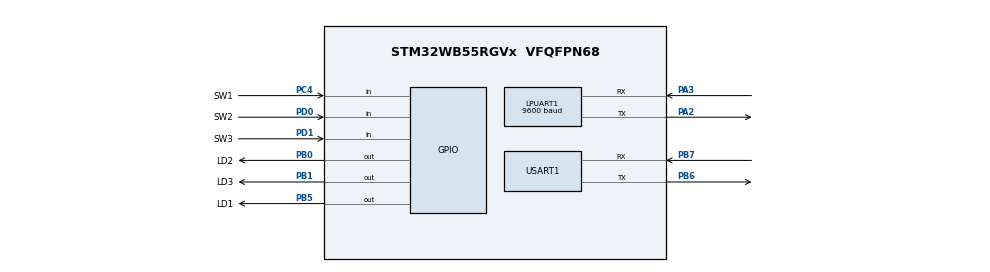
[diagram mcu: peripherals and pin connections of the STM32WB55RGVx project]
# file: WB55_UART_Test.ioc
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ADC1.Channel-0\#ChannelRegularConversion=ADC_CHANNEL_VREFINT
ADC1.Channel-1\#ChannelRegularConversion=ADC_CHANNEL_TEMPSENSOR
ADC1.NbrOfConversion=2
ADC1.NbrOfConversionFlag=1
ADC1.OffsetNumber-0\#ChannelRegularConversion=ADC_OFFSET_NONE
ADC1.OffsetNumber-1\#ChannelRegularConversion=ADC_OFFSET_NONE
ADC1.Rank-0\#ChannelRegularConversion=1
ADC1.Rank-1\#ChannelRegularConversion=2
ADC1.SamplingTime-0\#ChannelRegularConversion=ADC_SAMPLETIME_640CYCLES_5
ADC1.SamplingTime-1\#ChannelRegularConversion=ADC_SAMPLETIME_640CYCLES_5
ADC1.master=1
LPUART1.BaudRate=9600
Mcu.Family=STM32WB
Mcu.Name=STM32WB55RGVx
Mcu.Package=VFQFPN68
NVIC.PriorityGroup=NVIC_PRIORITYGROUP_4
PA2.Mode=Asynchronous
PA2.Signal=LPUART1_TX
PA3.Mode=Asynchronous
PA3.Signal=LPUART1_RX
PB0.GPIO_Label=LD2
PB0.Signal=GPIO_Output
PB1.GPIO_Label=LD3
PB1.Signal=GPIO_Output
PB5.GPIO_Label=LD1
PB5.Signal=GPIO_Output
PB6.Mode=Asynchronous
PB6.Signal=USART1_TX
PB7.Mode=Asynchronous
PB7.Signal=USART1_RX
PC0.Signal=ADCx_IN1
PC4.GPIO_Label=SW1
PC4.GPIO_PuPd=GPIO_PULLUP
PC4.Signal=GPIO_Input
PD0.GPIO_Label=SW2
PD0.GPIO_PuPd=GPIO_PULLUP
PD0.Signal=GPIO_Input
PD1.GPIO_Label=SW3
PD1.GPIO_PuPd=GPIO_PULLUP
PD1.Signal=GPIO_Input
ProjectManager.HeapSize=0x200
ProjectManager.StackSize=0x400
ProjectManager.TargetToolchain=STM32CubeIDE
RCC.APB3Freq_Value=16000000
RCC.HSE_VALUE=8000000
RCC.HSI48_VALUE=48000000
RCC.HSI_VALUE=16000000
RCC.LSE_VALUE=32768
RCC.VCOOutputFreq_Value=32000000
SH.ADCx_IN1.0=ADC1_IN1
USART1.VirtualMode-Asynchronous=VM_ASYNC
VP_ADC1_TempSens_Input.Mode=IN-TempSens
VP_ADC1_Vref_Input.Mode=IN-Vrefint
VP_MEMORYMAP_VS_MEMORYMAP.Mode=CurAppReg
board=custom

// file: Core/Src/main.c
/* USER CODE BEGIN Header */
/**
  ******************************************************************************
  * @file           : main.c
  * @brief          : Main program body
  ******************************************************************************
  * @attention
  *
  * Copyright (c) 2026 STMicroelectronics.
  * All rights reserved.
  *
  ******************************************************************************
  */
/* USER CODE END Header */

#include "main.h"
#include "adc.h"
#include "usart.h"
#include "gpio.h"

/* USER CODE BEGIN Includes */
#include "modbus_rtu.h"
#include "bms_registers.h"
#include "stm32wbxx_ll_adc.h"
/* USER CODE END Includes */

/* USER CODE BEGIN PD */

#define ONCHIP_UPDATE_PERIOD_MS  500U

/* USER CODE END PD */

/* USER CODE BEGIN PV */

static uint32_t last_onchip_update_ms = 0U;

/* USER CODE END PV */

void SystemClock_Config(void);
void PeriphCommonClock_Config(void);

/* USER CODE BEGIN PFP */

static void Update_Board_Digital_IO(void);
static void Update_OnChip_Data(void);

static int32_t Calculate_Temperature_x10(
    uint32_t vdda_mv,
    uint32_t temperature_raw,
    int32_t temperature_c_hal
);

/* USER CODE END PFP */

/* USER CODE BEGIN 0 */

/*
 * STM32WB55 dahili sicaklik sensorunu
 * 0.1 C biriminde hesaplar.
 *
 * Ornek:
 *
 * 253 -> 25.3 C
 * 317 -> 31.7 C
 *
 * Hesap STM32'nin fabrikada programlanan
 * TS_CAL1 ve TS_CAL2 degerlerini kullanir.
 *
 * HAL'in __HAL_ADC_CALC_TEMPERATURE() makrosu
 * tam sayi derece C dondurdugu icin 0.1 C gosterim
 * icin ayni fabrika kalibrasyon degerleriyle
 * fixed-point hesap yapiyoruz.
 */
static int32_t Calculate_Temperature_x10(
    uint32_t vdda_mv,
    uint32_t temperature_raw,
    int32_t temperature_c_hal)
{
    int32_t cal1;
    int32_t cal2;

    int32_t adc_at_calibration_vref;

    int32_t denominator;

    int64_t numerator;

    int32_t temperature_x10;

    /*
     * Fabrika kalibrasyon ADC degerleri.
     *
     * STM32WB:
     *
     * TS_CAL1 -> 30 C
     * TS_CAL2 -> 130 C
     */
    cal1 = (int32_t)(*TEMPSENSOR_CAL1_ADDR);
    cal2 = (int32_t)(*TEMPSENSOR_CAL2_ADDR);

    /*
     * Sicaklik sensorunun ADC degerini,
     * fabrika kalibrasyonunun yapildigi
     * referans gerilimine normalize et.
     *
     * ST HAL/LL makrosunun kullandigi
     * yaklasimla aynidir:
     *
     * ADC_normalized =
     * ADC_raw * VDDA / calibration_VREF
     */
    adc_at_calibration_vref =
        (int32_t)(
            ((uint64_t)temperature_raw *
             (uint64_t)vdda_mv)
            /
            (uint64_t)TEMPSENSOR_CAL_VREFANALOG
        );

    denominator = cal2 - cal1;

    /*
     * Normalde denominator sifir olamaz.
     *
     * Yine de koruma amacli HAL'in
     * tam derece sonucuna geri donuyoruz.
     */
    if (denominator == 0)
    {
        return temperature_c_hal * 10;
    }

    /*
     * Lineer interpolasyon:
     *
     * T =
     *
     * (ADC - CAL1)
     * ------------------- * (T2 - T1)
     *   (CAL2 - CAL1)
     *
     * + T1
     *
     * Sonucu dogrudan x10 hesapliyoruz.
     */
    numerator =
        ((int64_t)adc_at_calibration_vref -
         (int64_t)cal1)
        *
        (
            (int64_t)(
                TEMPSENSOR_CAL2_TEMP -
                TEMPSENSOR_CAL1_TEMP
            )
            * 10LL
        );

    temperature_x10 =
        (int32_t)(
            numerator /
            (int64_t)denominator
        )
        +
        (int32_t)(
            TEMPSENSOR_CAL1_TEMP * 10L
        );

    return temperature_x10;
}

/*
 * Board butonlarini Modbus Discrete Input hafizasina aktarir
 * ve Modbus coil durumlarini fiziksel LED'lere uygular.
 */
static void Update_Board_Digital_IO(void)
{
    uint8_t sw1_pressed;
    uint8_t sw2_pressed;
    uint8_t sw3_pressed;

    /*
     * Butonlar active-low:
     *
     * GPIO RESET -> basili
     * GPIO SET   -> birakilmis
     */
    sw1_pressed =
        (HAL_GPIO_ReadPin(
            SW1_GPIO_Port,
            SW1_Pin) == GPIO_PIN_RESET)
        ? 1U : 0U;

    sw2_pressed =
        (HAL_GPIO_ReadPin(
            SW2_GPIO_Port,
            SW2_Pin) == GPIO_PIN_RESET)
        ? 1U : 0U;

    sw3_pressed =
        (HAL_GPIO_ReadPin(
            SW3_GPIO_Port,
            SW3_Pin) == GPIO_PIN_RESET)
        ? 1U : 0U;

    /*
     * Fiziksel buton -> Modbus Discrete Input
     */
    modbus_set_discrete_input(
        0U,
        sw1_pressed
    );

    modbus_set_discrete_input(
        1U,
        sw2_pressed
    );

    modbus_set_discrete_input(
        2U,
        sw3_pressed
    );

    /*
     * Modbus Coil -> fiziksel LED
     *
     * LED'ler active-high:
     *
     * GPIO SET   -> LED ON
     * GPIO RESET -> LED OFF
     */

    HAL_GPIO_WritePin(
        LD1_GPIO_Port,
        LD1_Pin,
        (modbus_get_coil(0U) != 0U)
            ? GPIO_PIN_SET
            : GPIO_PIN_RESET
    );

    HAL_GPIO_WritePin(
        LD2_GPIO_Port,
        LD2_Pin,
        (modbus_get_coil(1U) != 0U)
            ? GPIO_PIN_SET
            : GPIO_PIN_RESET
    );

    HAL_GPIO_WritePin(
        LD3_GPIO_Port,
        LD3_Pin,
        (modbus_get_coil(2U) != 0U)
            ? GPIO_PIN_SET
            : GPIO_PIN_RESET
    );
}

/*
 * STM32WB55 dahili ADC verilerini okur.
 *
 * ADC sequence:
 *
 * Rank 1 -> VREFINT
 * Rank 2 -> Temperature Sensor
 *
 * Sonuclar:
 *
 * PDU 50 -> MCU temperature x10
 * PDU 51 -> Temperature raw ADC
 * PDU 52 -> VDDA mV
 * PDU 53 -> Uptime seconds
 */
static void Update_OnChip_Data(void)
{
    uint32_t vrefint_raw = 0U;
    uint32_t temperature_raw = 0U;

    uint32_t vdda_mv = 0U;

    int32_t temperature_c_hal = 0;
    int32_t temperature_x10_signed = 0;

    uint16_t temperature_x10 = 0U;

    uint8_t adc_ok = 1U;

    /*
     * ADC conversion sequence'i baslat.
     */
    if (HAL_ADC_Start(&hadc1) != HAL_OK)
    {
        adc_ok = 0U;
    }

    /*
     * Rank 1 -> VREFINT
     */
    if (adc_ok != 0U)
    {
        if (HAL_ADC_PollForConversion(
                &hadc1,
                10U) == HAL_OK)
        {
            vrefint_raw =
                HAL_ADC_GetValue(&hadc1);
        }
        else
        {
            adc_ok = 0U;
        }
    }

    /*
     * Rank 2 -> Internal Temperature Sensor
     */
    if (adc_ok != 0U)
    {
        if (HAL_ADC_PollForConversion(
                &hadc1,
                10U) == HAL_OK)
        {
            temperature_raw =
                HAL_ADC_GetValue(&hadc1);
        }
        else
        {
            adc_ok = 0U;
        }
    }

    /*
     * ADC sequence tamamlandi.
     */
    HAL_ADC_Stop(&hadc1);

    /*
     * ADC okuma basariliysa hesaplamalari yap.
     */
    if ((adc_ok != 0U) &&
        (vrefint_raw != 0U))
    {
        /*
         * VREFINT fabrika kalibrasyonunu kullanarak
         * gercek VDDA degerini hesapla.
         *
         * Sonuc mV.
         */
        vdda_mv =
            __HAL_ADC_CALC_VREFANALOG_VOLTAGE(
                vrefint_raw,
                ADC_RESOLUTION_12B
            );

        /*
         * ST HAL'in fabrika TS_CAL degerlerini kullanan
         * standart sicaklik hesabi.
         *
         * Sonuc tam sayi derece Celsius.
         *
         * Ornek:
         *
         * 31
         * 32
         */
        temperature_c_hal =
            __HAL_ADC_CALC_TEMPERATURE(
                vdda_mv,
                temperature_raw,
                ADC_RESOLUTION_12B
            );

        /*
         * Ayni fabrika kalibrasyon verileriyle
         * daha ince fixed-point hesap:
         *
         * 317 -> 31.7 C
         */
        temperature_x10_signed =
            Calculate_Temperature_x10(
                vdda_mv,
                temperature_raw,
                temperature_c_hal
            );

        /*
         * Holding Register uint16_t.
         *
         * Bu proje normal oda sicakliginda calistigi icin
         * negatif sonucu 0'a sinirliyoruz.
         */
        if (temperature_x10_signed < 0)
        {
            temperature_x10 = 0U;
        }
        else if (temperature_x10_signed > 65535)
        {
            temperature_x10 = 65535U;
        }
        else
        {
            temperature_x10 =
                (uint16_t)temperature_x10_signed;
        }

        /*
         * PDU 50
         *
         * MCU Temperature x10
         *
         * Ornek:
         *
         * 317 -> 31.7 C
         */
        bms_reg_write(
            BMS_REG_MCU_TEMPERATURE_X10,
            temperature_x10
        );

        /*
         * PDU 51
         *
         * Temperature Sensor Raw ADC
         */
        bms_reg_write(
            BMS_REG_MCU_TEMPERATURE_RAW,
            (uint16_t)temperature_raw
        );

        /*
         * PDU 52
         *
         * VDDA mV
         *
         * Ornek:
         *
         * 3310 -> 3.310 V
         */
        bms_reg_write(
            BMS_REG_VDDA_MV,
            (uint16_t)vdda_mv
        );
    }

    /*
     * PDU 53
     *
     * HAL_GetTick() milisaniyedir.
     *
     * /1000 -> saniye
     *
     * uint16_t oldugu icin:
     *
     * 65535 -> 0
     *
     * seklinde wrap eder.
     */
    bms_reg_write(
        BMS_REG_UPTIME_SECONDS,
        (uint16_t)(
            HAL_GetTick() / 1000U
        )
    );
}

/* USER CODE END 0 */

int main(void)
{
    /* USER CODE BEGIN 1 */

    uint8_t  rxbuf[256];
    uint16_t rxlen = 0U;
    uint8_t  txbuf[256];

    /* USER CODE END 1 */

    /* MCU Configuration--------------------------------------------------------*/

    /*
     * Reset of all peripherals,
     * Initializes the Flash interface and the Systick.
     */
    HAL_Init();

    /* Configure the system clock */
    SystemClock_Config();

    /* Configure the peripherals common clocks */
    PeriphCommonClock_Config();

    /* Initialize all configured peripherals */
    MX_GPIO_Init();
    MX_USART1_UART_Init();
    MX_LPUART1_UART_Init();
    MX_ADC1_Init();

    /* USER CODE BEGIN 2 */

    /*
     * Holding Register hafizasini hazirla.
     */
    bms_registers_init();

    /*
     * Modbus RTU hafizasini ve Slave ID'yi hazirla.
     */
    modbus_rtu_init();

    /*
     * Waveshare USB-TTL:
     *
     * LPUART1
     *
     * PA2 = TX
     * PA3 = RX
     *
     * 9600 8N1
     */
    hlpuart1.Init.BaudRate = 9600;

    if (HAL_UART_Init(&hlpuart1) != HAL_OK)
    {
        Error_Handler();
    }

    /*
     * ADC kalibrasyonu.
     *
     * ADC kullanilmadan once bir kez yapilir.
     */
    if (HAL_ADCEx_Calibration_Start(
            &hadc1,
            ADC_SINGLE_ENDED) != HAL_OK)
    {
        Error_Handler();
    }

    /*
     * Baslangicta:
     *
     * buton -> DI
     * coil  -> LED
     *
     * durumlarini esitle.
     */
    Update_Board_Digital_IO();

    /*
     * Ilk ADC ve uptime degerlerini
     * hemen olustur.
     */
    Update_OnChip_Data();

    last_onchip_update_ms =
        HAL_GetTick();

    /* USER CODE END 2 */

    /* Infinite loop */
    while (1)
    {

        /* USER CODE BEGIN 3 */

        /*
         * =====================================================
         * BOARD DIGITAL I/O
         * =====================================================
         *
         * SW1 -> DI0
         * SW2 -> DI1
         * SW3 -> DI2
         *
         * Coil0 -> LD1
         * Coil1 -> LD2
         * Coil2 -> LD3
         */
        Update_Board_Digital_IO();

        /*
         * =====================================================
         * PERIODIC ON-CHIP DATA
         * =====================================================
         *
         * Her 500 ms:
         *
         * PDU 50 -> temperature x10
         * PDU 51 -> temperature raw ADC
         * PDU 52 -> VDDA mV
         * PDU 53 -> uptime seconds
         */

        uint32_t now_ms =
            HAL_GetTick();

        if ((uint32_t)(
                now_ms -
                last_onchip_update_ms
            )
            >= ONCHIP_UPDATE_PERIOD_MS)
        {
            last_onchip_update_ms =
                now_ms;

            Update_OnChip_Data();
        }

        /*
         * =====================================================
         * MODBUS RTU
         * =====================================================
         *
         * Mevcut calisan LPUART1 Modbus blogu.
         */

        rxlen = 0U;

        HAL_UARTEx_ReceiveToIdle(
            &hlpuart1,
            rxbuf,
            sizeof(rxbuf),
            &rxlen,
            100U
        );

        if (rxlen > 0U)
        {
            uint16_t txlen =
                modbus_rtu_process(
                    rxbuf,
                    rxlen,
                    txbuf
                );

            if (txlen > 0U)
            {
                HAL_UART_Transmit(
                    &hlpuart1,
                    txbuf,
                    txlen,
                    HAL_MAX_DELAY
                );
            }
        }

        /*
         * FC05 ile coil degistiyse
         * LED'i hemen fiziksel GPIO'ya uygula.
         */
        Update_Board_Digital_IO();
    }

    /* USER CODE END 3 */
}

void SystemClock_Config(void)
{
    RCC_OscInitTypeDef RCC_OscInitStruct = {0};
    RCC_ClkInitTypeDef RCC_ClkInitStruct = {0};

    /** Macro to configure the PLL multiplication factor
     */
    __HAL_RCC_PLL_PLLM_CONFIG(
        RCC_PLLM_DIV1
    );

    /** Macro to configure the PLL clock source
     */
    __HAL_RCC_PLL_PLLSOURCE_CONFIG(
        RCC_PLLSOURCE_MSI
    );

    /** Configure the main internal regulator output voltage
     */
    __HAL_PWR_VOLTAGESCALING_CONFIG(
        PWR_REGULATOR_VOLTAGE_SCALE1
    );

    /** Initializes the RCC Oscillators
     */
    RCC_OscInitStruct.OscillatorType =
        RCC_OSCILLATORTYPE_HSI |
        RCC_OSCILLATORTYPE_MSI;

    RCC_OscInitStruct.HSIState =
        RCC_HSI_ON;

    RCC_OscInitStruct.MSIState =
        RCC_MSI_ON;

    RCC_OscInitStruct.HSICalibrationValue =
        RCC_HSICALIBRATION_DEFAULT;

    RCC_OscInitStruct.MSICalibrationValue =
        RCC_MSICALIBRATION_DEFAULT;

    RCC_OscInitStruct.MSIClockRange =
        RCC_MSIRANGE_6;

    RCC_OscInitStruct.PLL.PLLState =
        RCC_PLL_NONE;

    if (HAL_RCC_OscConfig(
            &RCC_OscInitStruct) != HAL_OK)
    {
        Error_Handler();
    }

    /** Configure SYSCLK, HCLK, PCLK1 and PCLK2
     */
    RCC_ClkInitStruct.ClockType =
        RCC_CLOCKTYPE_HCLK4 |
        RCC_CLOCKTYPE_HCLK2 |
        RCC_CLOCKTYPE_HCLK |
        RCC_CLOCKTYPE_SYSCLK |
        RCC_CLOCKTYPE_PCLK1 |
        RCC_CLOCKTYPE_PCLK2;

    RCC_ClkInitStruct.SYSCLKSource =
        RCC_SYSCLKSOURCE_MSI;

    RCC_ClkInitStruct.AHBCLKDivider =
        RCC_SYSCLK_DIV1;

    RCC_ClkInitStruct.APB1CLKDivider =
        RCC_HCLK_DIV1;

    RCC_ClkInitStruct.APB2CLKDivider =
        RCC_HCLK_DIV1;

    RCC_ClkInitStruct.AHBCLK2Divider =
        RCC_SYSCLK_DIV1;

    RCC_ClkInitStruct.AHBCLK4Divider =
        RCC_SYSCLK_DIV1;

    if (HAL_RCC_ClockConfig(
            &RCC_ClkInitStruct,
            FLASH_LATENCY_0) != HAL_OK)
    {
        Error_Handler();
    }
}

void PeriphCommonClock_Config(void)
{
    RCC_PeriphCLKInitTypeDef PeriphClkInitStruct = {0};

    /** Initializes the peripherals clock
     */
    PeriphClkInitStruct.PeriphClockSelection =
        RCC_PERIPHCLK_SMPS;

    PeriphClkInitStruct.SmpsClockSelection =
        RCC_SMPSCLKSOURCE_HSI;

    PeriphClkInitStruct.SmpsDivSelection =
        RCC_SMPSCLKDIV_RANGE1;

    if (HAL_RCCEx_PeriphCLKConfig(
            &PeriphClkInitStruct) != HAL_OK)
    {
        Error_Handler();
    }

}

void Error_Handler(void)
{
    __disable_irq();
    while (1)
    {
    }
}
